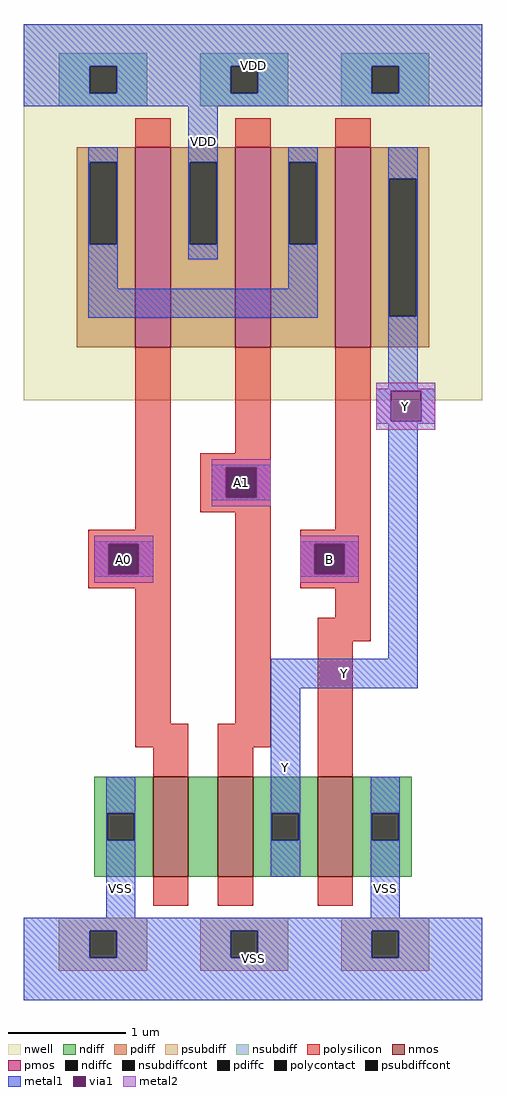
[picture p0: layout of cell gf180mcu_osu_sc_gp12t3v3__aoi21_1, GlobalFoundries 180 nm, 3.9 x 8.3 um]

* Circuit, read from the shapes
.subckt gf180mcu_osu_sc_gp12t3v3__aoi21_1 A0 A1 B Y VDD VSS
XM1 n1 A0 VSS VSS nfet_03v3 w=0.85u l=0.3u
XM2 Y A1 n1 VSS nfet_03v3 w=0.85u l=0.3u
XM3 VSS B Y VSS nfet_03v3 w=0.85u l=0.3u
XM4 VDD A0 n2 VDD pfet_03v3 w=1.7u l=0.3u
XM5 n2 A1 VDD VDD pfet_03v3 w=1.7u l=0.3u
XM6 Y B n2 VDD pfet_03v3 w=1.7u l=0.3u
.ends

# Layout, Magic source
magic
tech gf180mcuA
magscale 1 10
<< nwell >>
rect 0 1020 780 1660
<< nmos >>
rect 220 210 280 380
rect 330 210 390 380
rect 500 210 560 380
<< pmos >>
rect 190 1110 250 1450
rect 360 1110 420 1450
rect 530 1110 590 1450
<< ndiff >>
rect 120 318 220 380
rect 120 272 142 318
rect 188 272 220 318
rect 120 210 220 272
rect 280 210 330 380
rect 390 318 500 380
rect 390 272 422 318
rect 468 272 500 318
rect 390 210 500 272
rect 560 318 660 380
rect 560 272 592 318
rect 638 272 660 318
rect 560 210 660 272
<< pdiff >>
rect 90 1425 190 1450
rect 90 1285 112 1425
rect 158 1285 190 1425
rect 90 1110 190 1285
rect 250 1425 360 1450
rect 250 1285 282 1425
rect 328 1285 360 1425
rect 250 1110 360 1285
rect 420 1425 530 1450
rect 420 1285 452 1425
rect 498 1285 530 1425
rect 420 1110 530 1285
rect 590 1397 690 1450
rect 590 1163 622 1397
rect 668 1163 690 1397
rect 590 1110 690 1163
<< ndiffc >>
rect 142 272 188 318
rect 422 272 468 318
rect 592 272 638 318
<< pdiffc >>
rect 112 1285 158 1425
rect 282 1285 328 1425
rect 452 1285 498 1425
rect 622 1163 668 1397
<< psubdiff >>
rect 60 118 210 140
rect 60 72 112 118
rect 158 72 210 118
rect 60 50 210 72
rect 300 118 450 140
rect 300 72 352 118
rect 398 72 450 118
rect 300 50 450 72
rect 540 118 690 140
rect 540 72 592 118
rect 638 72 690 118
rect 540 50 690 72
<< nsubdiff >>
rect 60 1588 210 1610
rect 60 1542 112 1588
rect 158 1542 210 1588
rect 60 1520 210 1542
rect 300 1588 450 1610
rect 300 1542 352 1588
rect 398 1542 450 1588
rect 300 1520 450 1542
rect 540 1588 690 1610
rect 540 1542 592 1588
rect 638 1542 690 1588
rect 540 1520 690 1542
<< psubdiffcont >>
rect 112 72 158 118
rect 352 72 398 118
rect 592 72 638 118
<< nsubdiffcont >>
rect 112 1542 158 1588
rect 352 1542 398 1588
rect 592 1542 638 1588
<< polysilicon >>
rect 190 1450 250 1500
rect 360 1450 420 1500
rect 530 1450 590 1500
rect 190 800 250 1110
rect 360 930 420 1110
rect 300 903 420 930
rect 300 857 347 903
rect 393 857 420 903
rect 300 830 420 857
rect 110 773 250 800
rect 110 727 147 773
rect 193 727 250 773
rect 110 700 250 727
rect 190 470 250 700
rect 360 470 420 830
rect 530 800 590 1110
rect 470 773 590 800
rect 470 727 497 773
rect 543 727 590 773
rect 470 700 590 727
rect 530 650 590 700
rect 190 430 280 470
rect 220 380 280 430
rect 330 430 420 470
rect 500 610 590 650
rect 330 380 390 430
rect 500 380 560 610
rect 220 160 280 210
rect 330 160 390 210
rect 500 160 560 210
<< polycontact >>
rect 347 857 393 903
rect 147 727 193 773
rect 497 727 543 773
<< metal1 >>
rect 0 1588 780 1660
rect 0 1542 112 1588
rect 158 1542 352 1588
rect 398 1542 592 1588
rect 638 1542 780 1588
rect 0 1520 780 1542
rect 110 1425 160 1450
rect 110 1285 112 1425
rect 158 1285 160 1425
rect 110 1210 160 1285
rect 280 1425 330 1520
rect 280 1285 282 1425
rect 328 1285 330 1425
rect 280 1260 330 1285
rect 450 1425 500 1450
rect 450 1285 452 1425
rect 498 1285 500 1425
rect 450 1210 500 1285
rect 110 1160 500 1210
rect 620 1397 670 1450
rect 620 1163 622 1397
rect 668 1163 670 1397
rect 620 1040 670 1163
rect 600 1036 700 1040
rect 600 984 624 1036
rect 676 984 700 1036
rect 600 980 700 984
rect 320 906 420 910
rect 320 854 344 906
rect 396 854 420 906
rect 320 850 420 854
rect 120 776 220 780
rect 120 724 144 776
rect 196 724 220 776
rect 120 720 220 724
rect 470 776 570 780
rect 470 724 494 776
rect 546 724 570 776
rect 470 720 570 724
rect 620 580 670 980
rect 420 530 670 580
rect 140 318 190 380
rect 140 272 142 318
rect 188 272 190 318
rect 140 140 190 272
rect 420 318 470 530
rect 420 272 422 318
rect 468 272 470 318
rect 420 210 470 272
rect 590 318 640 380
rect 590 272 592 318
rect 638 272 640 318
rect 590 140 640 272
rect 0 118 780 140
rect 0 72 112 118
rect 158 72 352 118
rect 398 72 592 118
rect 638 72 780 118
rect 0 0 780 72
<< via1 >>
rect 624 984 676 1036
rect 344 903 396 906
rect 344 857 347 903
rect 347 857 393 903
rect 393 857 396 903
rect 344 854 396 857
rect 144 773 196 776
rect 144 727 147 773
rect 147 727 193 773
rect 193 727 196 773
rect 144 724 196 727
rect 494 773 546 776
rect 494 727 497 773
rect 497 727 543 773
rect 543 727 546 773
rect 494 724 546 727
<< metal2 >>
rect 600 1036 700 1050
rect 600 984 624 1036
rect 676 984 700 1036
rect 600 970 700 984
rect 320 906 420 920
rect 320 854 344 906
rect 396 854 420 906
rect 320 840 420 854
rect 120 776 220 790
rect 120 724 144 776
rect 196 724 220 776
rect 120 710 220 724
rect 470 776 570 790
rect 470 724 494 776
rect 546 724 570 776
rect 470 710 570 724
<< labels >>
rlabel via1 s 144 724 196 776 4 A0
port 1 nsew signal input
rlabel via1 s 344 854 396 906 4 A1
port 2 nsew signal input
rlabel via1 s 494 724 546 776 4 B
port 3 nsew signal input
rlabel via1 s 624 984 676 1036 4 Y
port 4 nsew signal output
rlabel metal1 s 280 1260 330 1660 4 VDD
port 5 nsew power bidirectional abutment
rlabel metal1 s 140 0 190 380 4 VSS
port 6 nsew ground bidirectional abutment
rlabel metal1 s 0 1520 780 1660 1 VDD
port 5 nsew power bidirectional abutment
rlabel metal1 s 590 0 640 380 1 VSS
port 6 nsew ground bidirectional abutment
rlabel metal1 s 0 0 780 140 1 VSS
port 6 nsew ground bidirectional abutment
rlabel metal2 s 120 710 220 790 1 A0
port 1 nsew signal input
rlabel metal1 s 120 720 220 780 1 A0
port 1 nsew signal input
rlabel metal2 s 320 840 420 920 1 A1
port 2 nsew signal input
rlabel metal1 s 320 850 420 910 1 A1
port 2 nsew signal input
rlabel metal2 s 470 710 570 790 1 B
port 3 nsew signal input
rlabel metal1 s 470 720 570 780 1 B
port 3 nsew signal input
rlabel metal2 s 600 970 700 1050 1 Y
port 4 nsew signal output
rlabel metal1 s 420 210 470 580 1 Y
port 4 nsew signal output
rlabel metal1 s 420 530 670 580 1 Y
port 4 nsew signal output
rlabel metal1 s 620 530 670 1450 1 Y
port 4 nsew signal output
rlabel metal1 s 600 980 700 1040 1 Y
port 4 nsew signal output
<< properties >>
string FIXED_BBOX 0 0 780 1660
string GDS_END 41348
string GDS_FILE $PDKPATH/libs.ref/gf180mcu_osu_sc_gp12t3v3/gds/gf180mcu_osu_sc_gp12t3v3.gds
string GDS_START 35928
string LEFclass CORE
string LEFsite gf180mcu_osu_sc_gp12t3v3
string LEFsymmetry X Y
<< end >>
